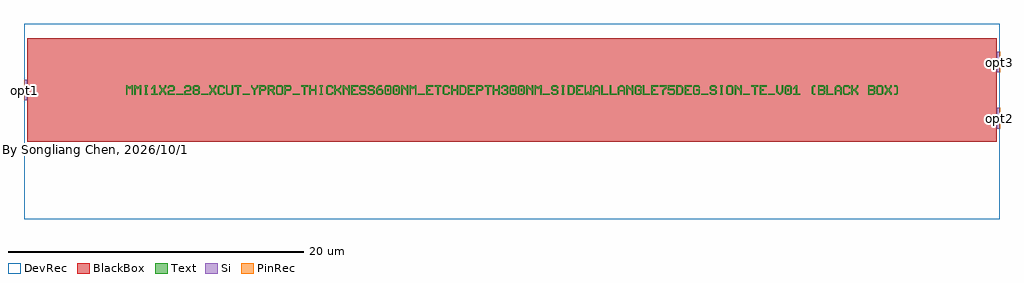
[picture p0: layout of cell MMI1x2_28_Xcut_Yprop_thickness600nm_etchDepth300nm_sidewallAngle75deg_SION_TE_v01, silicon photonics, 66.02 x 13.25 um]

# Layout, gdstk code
import gdstk
lib = gdstk.Library(unit=1e-6, precision=1e-10)
def R(c, l, rs):  # rectangles x0, y0, x1, y1
    for r in rs: c.add(gdstk.rectangle(r[:2], r[2:], *l))
def A(c, l, x, y, w, h, nx, ny, dx, dy):  # array of equal rectangles
    R(c, l, [(x+i*dx, y+j*dy, x+i*dx+w, y+j*dy+h) for i in range(nx) for j in range(ny)])
def P(c, l, *ps):  # polygons
    for p in ps: c.add(gdstk.Polygon(p, *l))
Si = (1, 0)
PinRec = (1, 10)
Text = (10, 0)
DevRec = (68, 0)
BlackBox = (998, 0)

text = lib.new_cell('TEXT')
A(text, Text, 11.28, 0, 0.47, 0.094, 3, 1, 8.46, 0)
R(text, Text, [(3.384,0,3.854,0.094), (5.076,0,5.546,0.094), (7.896,0,8.366,0.094), (38.916,0,39.386,0.094), (41.736,0,42.206,0.094), (43.428,0,43.898,0.094), (17.672,0.235,17.766,0.423), (18.236,0.235,18.33,0.423), (26.132,0.235,26.226,0.423), (26.696,0.235,26.79,0.423), (44.744,0.235,44.838,0.423)])
P(text, Text, [(0,0),(0,0.658),(0.094,0.658),(0.188,0.564),(0.282,0.564),(0.376,0.658),(0.47,0.658),(0.47,0),(0.376,0),(0.376,0.47),(0.329,0.47),(0.235,0.376),(0.141,0.47),(0.094,0.47),(0.094,0)],
  [(0.564,0),(0.564,0.658),(0.658,0.658),(0.752,0.564),(0.846,0.564),(0.94,0.658),(1.034,0.658),(1.034,0),(0.94,0),(0.94,0.47),(0.893,0.47),(0.799,0.376),(0.705,0.47),(0.658,0.47),(0.658,0)],
  [(1.269,0),(1.269,0.094),(1.316,0.094),(1.316,0.564),(1.269,0.564),(1.269,0.658),(1.457,0.658),(1.457,0.564),(1.41,0.564),(1.41,0.094),(1.457,0.094),(1.457,0)],
  [(1.692,0),(1.692,0.094),(1.88,0.094),(1.88,0.47),(1.833,0.47),(1.739,0.376),(1.692,0.376),(1.692,0.47),(1.88,0.658),(1.974,0.658),(1.974,0.094),(2.162,0.094),(2.162,0)],
  [(2.256,0),(2.256,0.141),(2.397,0.282),(2.397,0.376),(2.256,0.517),(2.256,0.658),(2.35,0.658),(2.35,0.564),(2.491,0.423),(2.632,0.564),(2.632,0.658),(2.726,0.658),(2.726,0.517),(2.585,0.376),(2.585,0.282),(2.726,0.141),(2.726,0),(2.632,0),(2.632,0.094),(2.491,0.235),(2.35,0.094),(2.35,0)],
  [(2.82,0),(2.82,0.235),(2.914,0.329),(3.149,0.329),(3.196,0.376),(3.196,0.517),(3.149,0.564),(2.961,0.564),(2.914,0.517),(2.914,0.47),(2.82,0.47),(2.82,0.564),(2.914,0.658),(3.196,0.658),(3.29,0.564),(3.29,0.329),(3.196,0.235),(2.961,0.235),(2.914,0.188),(2.914,0.094),(3.29,0.094),(3.29,0)],
  [(3.948,0),(3.948,0.235),(4.042,0.329),(4.277,0.329),(4.324,0.376),(4.324,0.517),(4.277,0.564),(4.089,0.564),(4.042,0.517),(4.042,0.47),(3.948,0.47),(3.948,0.564),(4.042,0.658),(4.324,0.658),(4.418,0.564),(4.418,0.329),(4.324,0.235),(4.089,0.235),(4.042,0.188),(4.042,0.094),(4.418,0.094),(4.418,0)],
  [(4.606,0),(4.512,0.094),(4.512,0.282),(4.559,0.329),(4.512,0.376),(4.512,0.564),(4.606,0.658),(4.888,0.658),(4.982,0.564),(4.653,0.564),(4.606,0.517),(4.606,0.423),(4.653,0.376),(4.841,0.376),(4.888,0.423),(4.888,0.517),(4.841,0.564),(4.982,0.564),(4.982,0.376),(4.935,0.329),(4.982,0.282),(4.653,0.282),(4.606,0.235),(4.606,0.141),(4.653,0.094),(4.841,0.094),(4.888,0.141),(4.888,0.235),(4.841,0.282),(4.982,0.282),(4.982,0.094),(4.888,0)],
  [(5.64,0),(5.64,0.141),(5.781,0.282),(5.781,0.376),(5.64,0.517),(5.64,0.658),(5.734,0.658),(5.734,0.564),(5.875,0.423),(6.016,0.564),(6.016,0.658),(6.11,0.658),(6.11,0.517),(5.969,0.376),(5.969,0.282),(6.11,0.141),(6.11,0),(6.016,0),(6.016,0.094),(5.875,0.235),(5.734,0.094),(5.734,0)],
  [(6.298,0),(6.204,0.094),(6.204,0.564),(6.298,0.658),(6.58,0.658),(6.674,0.564),(6.674,0.47),(6.58,0.47),(6.58,0.517),(6.533,0.564),(6.345,0.564),(6.298,0.517),(6.298,0.141),(6.345,0.094),(6.533,0.094),(6.58,0.141),(6.58,0.188),(6.674,0.188),(6.674,0.094),(6.58,0)],
  [(6.862,0),(6.768,0.094),(6.768,0.658),(6.862,0.658),(6.862,0.141),(6.909,0.094),(7.097,0.094),(7.144,0.141),(7.144,0.658),(7.238,0.658),(7.238,0.094),(7.144,0)],
  [(7.52,0),(7.52,0.564),(7.332,0.564),(7.332,0.658),(7.802,0.658),(7.802,0.564),(7.614,0.564),(7.614,0)],
  [(8.648,0),(8.648,0.329),(8.46,0.517),(8.46,0.658),(8.554,0.658),(8.554,0.564),(8.695,0.423),(8.836,0.564),(8.836,0.658),(8.93,0.658),(8.93,0.517),(8.742,0.329),(8.742,0)],
  [(9.024,0),(9.024,0.658),(9.4,0.658),(9.494,0.564),(9.494,0.376),(9.4,0.282),(9.118,0.282),(9.118,0.376),(9.353,0.376),(9.4,0.423),(9.4,0.517),(9.353,0.564),(9.118,0.564),(9.118,0)],
  [(9.588,0),(9.588,0.658),(9.964,0.658),(10.058,0.564),(9.682,0.564),(9.682,0.376),(9.917,0.376),(9.964,0.423),(9.964,0.517),(9.917,0.564),(10.058,0.564),(10.058,0.376),(9.964,0.282),(9.964,0.235),(10.058,0.141),(10.058,0),(9.964,0),(9.964,0.094),(9.776,0.282),(9.682,0.282),(9.682,0)],
  [(10.246,0),(10.152,0.094),(10.152,0.564),(10.246,0.658),(10.528,0.658),(10.622,0.564),(10.622,0.329),(10.528,0.329),(10.528,0.517),(10.481,0.564),(10.293,0.564),(10.246,0.517),(10.246,0.141),(10.293,0.094),(10.481,0.094),(10.528,0.141),(10.528,0.329),(10.622,0.329),(10.622,0.094),(10.528,0)],
  [(10.716,0),(10.716,0.658),(11.092,0.658),(11.186,0.564),(11.186,0.376),(11.092,0.282),(10.81,0.282),(10.81,0.376),(11.045,0.376),(11.092,0.423),(11.092,0.517),(11.045,0.564),(10.81,0.564),(10.81,0)],
  [(12.032,0),(12.032,0.564),(11.844,0.564),(11.844,0.658),(12.314,0.658),(12.314,0.564),(12.126,0.564),(12.126,0)],
  [(12.408,0),(12.408,0.658),(12.502,0.658),(12.502,0.376),(12.784,0.376),(12.784,0.658),(12.878,0.658),(12.878,0),(12.784,0),(12.784,0.282),(12.502,0.282),(12.502,0)],
  [(13.113,0),(13.113,0.094),(13.16,0.094),(13.16,0.564),(13.113,0.564),(13.113,0.658),(13.301,0.658),(13.301,0.564),(13.254,0.564),(13.254,0.094),(13.301,0.094),(13.301,0)],
  [(13.63,0),(13.536,0.094),(13.536,0.564),(13.63,0.658),(13.912,0.658),(14.006,0.564),(14.006,0.47),(13.912,0.47),(13.912,0.517),(13.865,0.564),(13.677,0.564),(13.63,0.517),(13.63,0.141),(13.677,0.094),(13.865,0.094),(13.912,0.141),(13.912,0.188),(14.006,0.188),(14.006,0.094),(13.912,0)],
  [(14.1,0),(14.1,0.658),(14.194,0.658),(14.194,0.376),(14.288,0.376),(14.476,0.564),(14.476,0.658),(14.57,0.658),(14.57,0.517),(14.382,0.329),(14.57,0.141),(14.57,0),(14.476,0),(14.476,0.094),(14.288,0.282),(14.194,0.282),(14.194,0)],
  [(14.664,0),(14.664,0.658),(14.758,0.658),(14.993,0.423),(15.04,0.423),(15.04,0.658),(15.134,0.658),(15.134,0),(15.04,0),(15.04,0.235),(14.805,0.47),(14.758,0.47),(14.758,0)],
  [(15.228,0),(15.228,0.658),(15.698,0.658),(15.698,0.564),(15.322,0.564),(15.322,0.376),(15.51,0.376),(15.51,0.282),(15.322,0.282),(15.322,0.094),(15.698,0.094),(15.698,0)],
  [(15.886,0),(15.792,0.094),(15.792,0.188),(15.886,0.188),(15.886,0.141),(15.933,0.094),(16.121,0.094),(16.168,0.141),(16.168,0.235),(16.121,0.282),(15.886,0.282),(15.792,0.376),(15.792,0.564),(15.886,0.658),(16.168,0.658),(16.262,0.564),(16.262,0.47),(16.168,0.47),(16.168,0.517),(16.121,0.564),(15.933,0.564),(15.886,0.517),(15.886,0.423),(15.933,0.376),(16.168,0.376),(16.262,0.282),(16.262,0.094),(16.168,0)],
  [(16.45,0),(16.356,0.094),(16.356,0.188),(16.45,0.188),(16.45,0.141),(16.497,0.094),(16.685,0.094),(16.732,0.141),(16.732,0.235),(16.685,0.282),(16.45,0.282),(16.356,0.376),(16.356,0.564),(16.45,0.658),(16.732,0.658),(16.826,0.564),(16.826,0.47),(16.732,0.47),(16.732,0.517),(16.685,0.564),(16.497,0.564),(16.45,0.517),(16.45,0.423),(16.497,0.376),(16.732,0.376),(16.826,0.282),(16.826,0.094),(16.732,0)],
  [(17.014,0),(16.92,0.094),(16.92,0.47),(17.108,0.658),(17.296,0.658),(17.296,0.564),(17.155,0.564),(17.061,0.47),(17.061,0.423),(17.296,0.423),(17.39,0.329),(17.061,0.329),(17.014,0.282),(17.014,0.141),(17.061,0.094),(17.249,0.094),(17.296,0.141),(17.296,0.282),(17.249,0.329),(17.39,0.329),(17.39,0.094),(17.296,0)],
  [(17.578,0),(17.484,0.094),(17.484,0.564),(17.578,0.658),(17.86,0.658),(17.954,0.564),(17.625,0.564),(17.578,0.517),(17.578,0.141),(17.625,0.094),(17.813,0.094),(17.86,0.141),(17.86,0.517),(17.813,0.564),(17.954,0.564),(17.954,0.094),(17.86,0)],
  [(18.142,0),(18.048,0.094),(18.048,0.564),(18.142,0.658),(18.424,0.658),(18.518,0.564),(18.189,0.564),(18.142,0.517),(18.142,0.141),(18.189,0.094),(18.377,0.094),(18.424,0.141),(18.424,0.517),(18.377,0.564),(18.518,0.564),(18.518,0.094),(18.424,0)],
  [(18.612,0),(18.612,0.658),(18.706,0.658),(18.941,0.423),(18.988,0.423),(18.988,0.658),(19.082,0.658),(19.082,0),(18.988,0),(18.988,0.235),(18.753,0.47),(18.706,0.47),(18.706,0)],
  [(19.176,0),(19.176,0.658),(19.27,0.658),(19.364,0.564),(19.458,0.564),(19.552,0.658),(19.646,0.658),(19.646,0),(19.552,0),(19.552,0.47),(19.505,0.47),(19.411,0.376),(19.317,0.47),(19.27,0.47),(19.27,0)],
  [(20.304,0),(20.304,0.658),(20.774,0.658),(20.774,0.564),(20.398,0.564),(20.398,0.376),(20.586,0.376),(20.586,0.282),(20.398,0.282),(20.398,0.094),(20.774,0.094),(20.774,0)],
  [(21.056,0),(21.056,0.564),(20.868,0.564),(20.868,0.658),(21.338,0.658),(21.338,0.564),(21.15,0.564),(21.15,0)],
  [(21.526,0),(21.432,0.094),(21.432,0.564),(21.526,0.658),(21.808,0.658),(21.902,0.564),(21.902,0.47),(21.808,0.47),(21.808,0.517),(21.761,0.564),(21.573,0.564),(21.526,0.517),(21.526,0.141),(21.573,0.094),(21.761,0.094),(21.808,0.141),(21.808,0.188),(21.902,0.188),(21.902,0.094),(21.808,0)],
  [(21.996,0),(21.996,0.658),(22.09,0.658),(22.09,0.376),(22.372,0.376),(22.372,0.658),(22.466,0.658),(22.466,0),(22.372,0),(22.372,0.282),(22.09,0.282),(22.09,0)],
  [(22.56,0),(22.56,0.658),(22.889,0.658),(22.983,0.564),(22.654,0.564),(22.654,0.094),(22.842,0.094),(22.936,0.188),(22.936,0.47),(22.842,0.564),(22.983,0.564),(23.03,0.517),(23.03,0.141),(22.889,0)],
  [(23.124,0),(23.124,0.658),(23.594,0.658),(23.594,0.564),(23.218,0.564),(23.218,0.376),(23.406,0.376),(23.406,0.282),(23.218,0.282),(23.218,0.094),(23.594,0.094),(23.594,0)],
  [(23.688,0),(23.688,0.658),(24.064,0.658),(24.158,0.564),(24.158,0.376),(24.064,0.282),(23.782,0.282),(23.782,0.376),(24.017,0.376),(24.064,0.423),(24.064,0.517),(24.017,0.564),(23.782,0.564),(23.782,0)],
  [(24.44,0),(24.44,0.564),(24.252,0.564),(24.252,0.658),(24.722,0.658),(24.722,0.564),(24.534,0.564),(24.534,0)],
  [(24.816,0),(24.816,0.658),(24.91,0.658),(24.91,0.376),(25.192,0.376),(25.192,0.658),(25.286,0.658),(25.286,0),(25.192,0),(25.192,0.282),(24.91,0.282),(24.91,0)],
  [(25.474,0),(25.38,0.094),(25.38,0.188),(25.474,0.188),(25.474,0.141),(25.521,0.094),(25.709,0.094),(25.756,0.141),(25.756,0.235),(25.709,0.282),(25.568,0.282),(25.568,0.376),(25.709,0.376),(25.756,0.423),(25.756,0.517),(25.709,0.564),(25.521,0.564),(25.474,0.517),(25.474,0.47),(25.38,0.47),(25.38,0.564),(25.474,0.658),(25.756,0.658),(25.85,0.564),(25.85,0.376),(25.803,0.329),(25.85,0.282),(25.85,0.094),(25.756,0)],
  [(26.038,0),(25.944,0.094),(25.944,0.564),(26.038,0.658),(26.32,0.658),(26.414,0.564),(26.085,0.564),(26.038,0.517),(26.038,0.141),(26.085,0.094),(26.273,0.094),(26.32,0.141),(26.32,0.517),(26.273,0.564),(26.414,0.564),(26.414,0.094),(26.32,0)],
  [(26.602,0),(26.508,0.094),(26.508,0.564),(26.602,0.658),(26.884,0.658),(26.978,0.564),(26.649,0.564),(26.602,0.517),(26.602,0.141),(26.649,0.094),(26.837,0.094),(26.884,0.141),(26.884,0.517),(26.837,0.564),(26.978,0.564),(26.978,0.094),(26.884,0)],
  [(27.072,0),(27.072,0.658),(27.166,0.658),(27.401,0.423),(27.448,0.423),(27.448,0.658),(27.542,0.658),(27.542,0),(27.448,0),(27.448,0.235),(27.213,0.47),(27.166,0.47),(27.166,0)],
  [(27.636,0),(27.636,0.658),(27.73,0.658),(27.824,0.564),(27.918,0.564),(28.012,0.658),(28.106,0.658),(28.106,0),(28.012,0),(28.012,0.47),(27.965,0.47),(27.871,0.376),(27.777,0.47),(27.73,0.47),(27.73,0)],
  [(28.858,0),(28.764,0.094),(28.764,0.188),(28.858,0.188),(28.858,0.141),(28.905,0.094),(29.093,0.094),(29.14,0.141),(29.14,0.235),(29.093,0.282),(28.858,0.282),(28.764,0.376),(28.764,0.564),(28.858,0.658),(29.14,0.658),(29.234,0.564),(29.234,0.47),(29.14,0.47),(29.14,0.517),(29.093,0.564),(28.905,0.564),(28.858,0.517),(28.858,0.423),(28.905,0.376),(29.14,0.376),(29.234,0.282),(29.234,0.094),(29.14,0)],
  [(29.469,0),(29.469,0.094),(29.516,0.094),(29.516,0.564),(29.469,0.564),(29.469,0.658),(29.657,0.658),(29.657,0.564),(29.61,0.564),(29.61,0.094),(29.657,0.094),(29.657,0)],
  [(29.892,0),(29.892,0.658),(30.221,0.658),(30.315,0.564),(29.986,0.564),(29.986,0.094),(30.174,0.094),(30.268,0.188),(30.268,0.47),(30.174,0.564),(30.315,0.564),(30.362,0.517),(30.362,0.141),(30.221,0)],
  [(30.456,0),(30.456,0.658),(30.926,0.658),(30.926,0.564),(30.55,0.564),(30.55,0.376),(30.738,0.376),(30.738,0.282),(30.55,0.282),(30.55,0.094),(30.926,0.094),(30.926,0)],
  [(31.02,0),(31.02,0.658),(31.114,0.658),(31.114,0.141),(31.161,0.141),(31.255,0.235),(31.349,0.141),(31.396,0.141),(31.396,0.658),(31.49,0.658),(31.49,0),(31.349,0),(31.255,0.094),(31.161,0)],
  [(31.584,0),(31.584,0.517),(31.725,0.658),(31.913,0.658),(32.007,0.564),(31.772,0.564),(31.678,0.47),(31.678,0.329),(31.96,0.329),(31.96,0.47),(31.866,0.564),(32.007,0.564),(32.054,0.517),(32.054,0),(31.96,0),(31.96,0.235),(31.678,0.235),(31.678,0)],
  [(32.148,0),(32.148,0.658),(32.242,0.658),(32.242,0.094),(32.618,0.094),(32.618,0)],
  [(32.712,0),(32.712,0.658),(32.806,0.658),(32.806,0.094),(33.182,0.094),(33.182,0)],
  [(33.276,0),(33.276,0.517),(33.417,0.658),(33.605,0.658),(33.699,0.564),(33.464,0.564),(33.37,0.47),(33.37,0.329),(33.652,0.329),(33.652,0.47),(33.558,0.564),(33.699,0.564),(33.746,0.517),(33.746,0),(33.652,0),(33.652,0.235),(33.37,0.235),(33.37,0)],
  [(33.84,0),(33.84,0.658),(33.934,0.658),(34.169,0.423),(34.216,0.423),(34.216,0.658),(34.31,0.658),(34.31,0),(34.216,0),(34.216,0.235),(33.981,0.47),(33.934,0.47),(33.934,0)],
  [(34.498,0),(34.404,0.094),(34.404,0.564),(34.498,0.658),(34.78,0.658),(34.874,0.564),(34.874,0.47),(34.78,0.47),(34.78,0.517),(34.733,0.564),(34.545,0.564),(34.498,0.517),(34.498,0.141),(34.545,0.094),(34.733,0.094),(34.78,0.141),(34.78,0.282),(34.639,0.282),(34.639,0.376),(34.874,0.376),(34.874,0.094),(34.78,0)],
  [(34.968,0),(34.968,0.658),(35.062,0.658),(35.062,0.094),(35.438,0.094),(35.438,0)],
  [(35.532,0),(35.532,0.658),(36.002,0.658),(36.002,0.564),(35.626,0.564),(35.626,0.376),(35.814,0.376),(35.814,0.282),(35.626,0.282),(35.626,0.094),(36.002,0.094),(36.002,0)],
  [(36.284,0),(36.284,0.329),(36.472,0.517),(36.472,0.564),(36.096,0.564),(36.096,0.658),(36.566,0.658),(36.566,0.47),(36.378,0.282),(36.378,0)],
  [(36.754,0),(36.66,0.094),(36.66,0.188),(36.754,0.188),(36.754,0.141),(36.801,0.094),(36.989,0.094),(37.036,0.141),(37.036,0.282),(36.989,0.329),(36.66,0.329),(36.66,0.658),(37.13,0.658),(37.13,0.564),(36.754,0.564),(36.754,0.423),(37.036,0.423),(37.13,0.329),(37.13,0.094),(37.036,0)],
  [(37.224,0),(37.224,0.658),(37.553,0.658),(37.647,0.564),(37.318,0.564),(37.318,0.094),(37.506,0.094),(37.6,0.188),(37.6,0.47),(37.506,0.564),(37.647,0.564),(37.694,0.517),(37.694,0.141),(37.553,0)],
  [(37.788,0),(37.788,0.658),(38.258,0.658),(38.258,0.564),(37.882,0.564),(37.882,0.376),(38.07,0.376),(38.07,0.282),(37.882,0.282),(37.882,0.094),(38.258,0.094),(38.258,0)],
  [(38.446,0),(38.352,0.094),(38.352,0.564),(38.446,0.658),(38.728,0.658),(38.822,0.564),(38.822,0.47),(38.728,0.47),(38.728,0.517),(38.681,0.564),(38.493,0.564),(38.446,0.517),(38.446,0.141),(38.493,0.094),(38.681,0.094),(38.728,0.141),(38.728,0.282),(38.587,0.282),(38.587,0.376),(38.822,0.376),(38.822,0.094),(38.728,0)],
  [(39.574,0),(39.48,0.094),(39.48,0.188),(39.574,0.188),(39.574,0.141),(39.621,0.094),(39.809,0.094),(39.856,0.141),(39.856,0.235),(39.809,0.282),(39.574,0.282),(39.48,0.376),(39.48,0.564),(39.574,0.658),(39.856,0.658),(39.95,0.564),(39.95,0.47),(39.856,0.47),(39.856,0.517),(39.809,0.564),(39.621,0.564),(39.574,0.517),(39.574,0.423),(39.621,0.376),(39.856,0.376),(39.95,0.282),(39.95,0.094),(39.856,0)],
  [(40.185,0),(40.185,0.094),(40.232,0.094),(40.232,0.564),(40.185,0.564),(40.185,0.658),(40.373,0.658),(40.373,0.564),(40.326,0.564),(40.326,0.094),(40.373,0.094),(40.373,0)],
  [(40.702,0),(40.608,0.094),(40.608,0.564),(40.702,0.658),(40.984,0.658),(41.078,0.564),(41.078,0.329),(40.984,0.329),(40.984,0.517),(40.937,0.564),(40.749,0.564),(40.702,0.517),(40.702,0.141),(40.749,0.094),(40.937,0.094),(40.984,0.141),(40.984,0.329),(41.078,0.329),(41.078,0.094),(40.984,0)],
  [(41.172,0),(41.172,0.658),(41.266,0.658),(41.501,0.423),(41.548,0.423),(41.548,0.658),(41.642,0.658),(41.642,0),(41.548,0),(41.548,0.235),(41.313,0.47),(41.266,0.47),(41.266,0)],
  [(42.488,0),(42.488,0.564),(42.3,0.564),(42.3,0.658),(42.77,0.658),(42.77,0.564),(42.582,0.564),(42.582,0)],
  [(42.864,0),(42.864,0.658),(43.334,0.658),(43.334,0.564),(42.958,0.564),(42.958,0.376),(43.146,0.376),(43.146,0.282),(42.958,0.282),(42.958,0.094),(43.334,0.094),(43.334,0)],
  [(44.18,0),(43.992,0.188),(43.992,0.658),(44.086,0.658),(44.086,0.235),(44.227,0.094),(44.368,0.235),(44.368,0.658),(44.462,0.658),(44.462,0.188),(44.274,0)],
  [(44.65,0),(44.556,0.094),(44.556,0.564),(44.65,0.658),(44.932,0.658),(45.026,0.564),(44.697,0.564),(44.65,0.517),(44.65,0.141),(44.697,0.094),(44.885,0.094),(44.932,0.141),(44.932,0.517),(44.885,0.564),(45.026,0.564),(45.026,0.094),(44.932,0)],
  [(45.12,0),(45.12,0.094),(45.308,0.094),(45.308,0.47),(45.261,0.47),(45.167,0.376),(45.12,0.376),(45.12,0.47),(45.308,0.658),(45.402,0.658),(45.402,0.094),(45.59,0.094),(45.59,0)],
  [(46.483,0),(46.389,0.094),(46.389,0.564),(46.483,0.658),(46.624,0.658),(46.624,0.564),(46.53,0.564),(46.483,0.517),(46.483,0.141),(46.53,0.094),(46.624,0.094),(46.624,0)],
  [(46.812,0),(46.812,0.658),(47.188,0.658),(47.282,0.564),(46.906,0.564),(46.906,0.376),(47.141,0.376),(47.188,0.423),(47.188,0.517),(47.141,0.564),(47.282,0.564),(47.282,0.376),(47.235,0.329),(47.282,0.282),(46.906,0.282),(46.906,0.094),(47.141,0.094),(47.188,0.141),(47.188,0.235),(47.141,0.282),(47.282,0.282),(47.282,0.094),(47.188,0)],
  [(47.376,0),(47.376,0.658),(47.47,0.658),(47.47,0.094),(47.846,0.094),(47.846,0)],
  [(47.94,0),(47.94,0.517),(48.081,0.658),(48.269,0.658),(48.363,0.564),(48.128,0.564),(48.034,0.47),(48.034,0.329),(48.316,0.329),(48.316,0.47),(48.222,0.564),(48.363,0.564),(48.41,0.517),(48.41,0),(48.316,0),(48.316,0.235),(48.034,0.235),(48.034,0)],
  [(48.598,0),(48.504,0.094),(48.504,0.564),(48.598,0.658),(48.88,0.658),(48.974,0.564),(48.974,0.47),(48.88,0.47),(48.88,0.517),(48.833,0.564),(48.645,0.564),(48.598,0.517),(48.598,0.141),(48.645,0.094),(48.833,0.094),(48.88,0.141),(48.88,0.188),(48.974,0.188),(48.974,0.094),(48.88,0)],
  [(49.068,0),(49.068,0.658),(49.162,0.658),(49.162,0.376),(49.256,0.376),(49.444,0.564),(49.444,0.658),(49.538,0.658),(49.538,0.517),(49.35,0.329),(49.538,0.141),(49.538,0),(49.444,0),(49.444,0.094),(49.256,0.282),(49.162,0.282),(49.162,0)],
  [(50.196,0),(50.196,0.658),(50.572,0.658),(50.666,0.564),(50.29,0.564),(50.29,0.376),(50.525,0.376),(50.572,0.423),(50.572,0.517),(50.525,0.564),(50.666,0.564),(50.666,0.376),(50.619,0.329),(50.666,0.282),(50.29,0.282),(50.29,0.094),(50.525,0.094),(50.572,0.141),(50.572,0.235),(50.525,0.282),(50.666,0.282),(50.666,0.094),(50.572,0)],
  [(50.854,0),(50.76,0.094),(50.76,0.564),(50.854,0.658),(51.136,0.658),(51.23,0.564),(51.23,0.329),(51.136,0.329),(51.136,0.517),(51.089,0.564),(50.901,0.564),(50.854,0.517),(50.854,0.141),(50.901,0.094),(51.089,0.094),(51.136,0.141),(51.136,0.329),(51.23,0.329),(51.23,0.094),(51.136,0)],
  [(51.324,0),(51.324,0.141),(51.465,0.282),(51.465,0.376),(51.324,0.517),(51.324,0.658),(51.418,0.658),(51.418,0.564),(51.559,0.423),(51.7,0.564),(51.7,0.658),(51.794,0.658),(51.794,0.517),(51.653,0.376),(51.653,0.282),(51.794,0.141),(51.794,0),(51.7,0),(51.7,0.094),(51.559,0.235),(51.418,0.094),(51.418,0)],
  [(51.982,0),(51.982,0.094),(52.076,0.094),(52.123,0.141),(52.123,0.517),(52.076,0.564),(51.982,0.564),(51.982,0.658),(52.123,0.658),(52.217,0.564),(52.217,0.094),(52.123,0)])

mmi1x2_28_xcut_yprop_thi = lib.new_cell('MMI1x2_28_Xcut_Yprop_thickness600nm_etchDepth300nm_sidewallAngle75deg_SION_TE_v01')
R(mmi1x2_28_xcut_yprop_thi, Si, [(32.8,-2.6,33,-1.2), (-33,-0.7,-32.8,0.7), (32.8,1.2,33,2.6)])
R(mmi1x2_28_xcut_yprop_thi, DevRec, [(-33,-8.7467,33,4.5)])
R(mmi1x2_28_xcut_yprop_thi, BlackBox, [(-32.8,-3.5,32.8,3.5)])
mmi1x2_28_xcut_yprop_thi.add(gdstk.FlexPath([(-32.99,0),(-33.01,0)], 1.4, ends="flush", simple_path=True, layer=1, datatype=10))  # PinRec
mmi1x2_28_xcut_yprop_thi.add(gdstk.FlexPath([(32.99,-1.9),(33.01,-1.9)], 1.4, ends="flush", simple_path=True, layer=1, datatype=10))  # PinRec
mmi1x2_28_xcut_yprop_thi.add(gdstk.FlexPath([(32.99,1.9),(33.01,1.9)], 1.4, ends="flush", simple_path=True, layer=1, datatype=10))  # PinRec
mmi1x2_28_xcut_yprop_thi.add(gdstk.Reference(text, (-26.1085,-0.329)))
mmi1x2_28_xcut_yprop_thi.add(gdstk.Label('opt1', (-33,0), layer=1, texttype=10))
mmi1x2_28_xcut_yprop_thi.add(gdstk.Label('opt2', (33,-1.9), layer=1, texttype=10))
mmi1x2_28_xcut_yprop_thi.add(gdstk.Label('opt3', (33,1.9), layer=1, texttype=10))
mmi1x2_28_xcut_yprop_thi.add(gdstk.Label('By Songliang Chen, 2026/10/13', (-32.5,-4), layer=10, texttype=0))

lib.write_gds('MMI1x2_28_Xcut_Yprop_thickness600nm_etchDepth300nm_sidewallAngle75deg_SION_TE_v01.gds')
